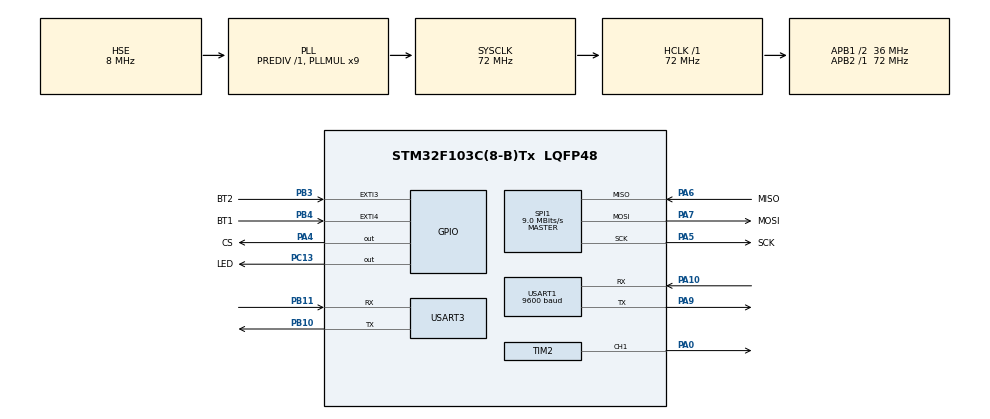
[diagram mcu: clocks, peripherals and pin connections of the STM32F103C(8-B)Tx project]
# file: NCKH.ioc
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Dma.Request0=TIM2_CH1
Dma.TIM2_CH1.0.Direction=DMA_MEMORY_TO_PERIPH
Dma.TIM2_CH1.0.Instance=DMA1_Channel5
Dma.TIM2_CH1.0.MemDataAlignment=DMA_MDATAALIGN_HALFWORD
Dma.TIM2_CH1.0.MemInc=DMA_MINC_ENABLE
Dma.TIM2_CH1.0.Mode=DMA_NORMAL
Dma.TIM2_CH1.0.PeriphDataAlignment=DMA_PDATAALIGN_HALFWORD
Dma.TIM2_CH1.0.PeriphInc=DMA_PINC_DISABLE
Dma.TIM2_CH1.0.Priority=DMA_PRIORITY_LOW
Mcu.Family=STM32F1
Mcu.Name=STM32F103C(8-B)Tx
Mcu.Package=LQFP48
NVIC.DMA1_Channel5_IRQn=true\:0\:0\:false\:false\:true\:false\:true\:true
NVIC.EXTI3_IRQn=true\:0\:0\:false\:false\:true\:true\:true\:true
NVIC.EXTI4_IRQn=true\:0\:0\:false\:false\:true\:true\:true\:true
NVIC.PriorityGroup=NVIC_PRIORITYGROUP_4
NVIC.USART1_IRQn=true\:0\:0\:false\:false\:true\:true\:true\:true
NVIC.USART3_IRQn=true\:0\:0\:false\:false\:true\:true\:true\:true
PA0-WKUP.Signal=S_TIM2_CH1_ETR
PA10.Mode=Asynchronous
PA10.Signal=USART1_RX
PA13.Mode=Serial_Wire
PA13.Signal=SYS_JTMS-SWDIO
PA14.Mode=Serial_Wire
PA14.Signal=SYS_JTCK-SWCLK
PA4.GPIO_Label=CS
PA4.Signal=GPIO_Output
PA5.GPIO_Label=SCK
PA5.Mode=Full_Duplex_Master
PA5.Signal=SPI1_SCK
PA6.GPIO_Label=MISO
PA6.Mode=Full_Duplex_Master
PA6.Signal=SPI1_MISO
PA7.GPIO_Label=MOSI
PA7.Mode=Full_Duplex_Master
PA7.Signal=SPI1_MOSI
PA9.Mode=Asynchronous
PA9.Signal=USART1_TX
PB10.Mode=Asynchronous
PB10.Signal=USART3_TX
PB11.Mode=Asynchronous
PB11.Signal=USART3_RX
PB3.GPIO_Label=BT2
PB3.GPIO_PuPd=GPIO_PULLUP
PB3.Signal=GPXTI3
PB4.GPIO_Label=BT1
PB4.GPIO_PuPd=GPIO_PULLUP
PB4.Signal=GPXTI4
PC13-TAMPER-RTC.GPIO_Label=LED
PC13-TAMPER-RTC.Signal=GPIO_Output
PD0-OSC_IN.Mode=HSE-External-Oscillator
PD0-OSC_IN.Signal=RCC_OSC_IN
PD1-OSC_OUT.Mode=HSE-External-Oscillator
PD1-OSC_OUT.Signal=RCC_OSC_OUT
ProjectManager.HeapSize=0x200
ProjectManager.StackSize=0x400
ProjectManager.TargetToolchain=STM32CubeIDE
RCC.AHBFreq_Value=72000000
RCC.APB1CLKDivider=RCC_HCLK_DIV2
RCC.APB1Freq_Value=36000000
RCC.APB1TimFreq_Value=72000000
RCC.APB2Freq_Value=72000000
RCC.APB2TimFreq_Value=72000000
RCC.HCLKFreq_Value=72000000
RCC.PLLMUL=RCC_PLL_MUL9
RCC.PLLSourceVirtual=RCC_PLLSOURCE_HSE
RCC.SYSCLKFreq_VALUE=72000000
RCC.SYSCLKSource=RCC_SYSCLKSOURCE_PLLCLK
RCC.USBFreq_Value=72000000
SH.S_TIM2_CH1_ETR.0=TIM2_CH1,PWM Generation1 CH1
SPI1.BaudRatePrescaler=SPI_BAUDRATEPRESCALER_8
SPI1.CLKPhase=SPI_PHASE_2EDGE
SPI1.CalculateBaudRate=9.0 MBits/s
SPI1.Direction=SPI_DIRECTION_2LINES
SPI1.Mode=SPI_MODE_MASTER
SPI1.VirtualType=VM_MASTER
TIM2.Channel-PWM\ Generation1\ CH1=TIM_CHANNEL_1
TIM2.Period=90-1
USART1.BaudRate=9600
USART1.VirtualMode=VM_ASYNC
USART3.VirtualMode=VM_ASYNC
board=custom

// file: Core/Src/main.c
/* USER CODE BEGIN Header */
/**
  ******************************************************************************
  * @file           : main.c
  * @brief          : Main program body
  ******************************************************************************
  * @attention
  *
  * Copyright (c) 2025 STMicroelectronics.
  * All rights reserved.
  *
  * This software is licensed under terms that can be found in the LICENSE file
  * in the root directory of this software component.
  * If no LICENSE file comes with this software, it is provided AS-IS.
  *
  ******************************************************************************
  */
/* USER CODE END Header */
#include "main.h"

/* USER CODE BEGIN Includes */
#include "string.h"
#include "math.h"
#include "mc522.h"
#include "stdlib.h"

/* USER CODE END Includes */

/* USER CODE BEGIN PM */
#define MAX_LED 16
#define USE_BRIGHTNESS 1

#define PI 3.14159265

#define SIZE_DATA 5
#define WORD_DISTANCE_BETWEEN 4
#define FLASH_ADDR_BASE 0x08000000
#define FLASH_ADDR_TARGET_PAGE 127
#define FLASH_ADDR_TARGET (FLASH_ADDR_BASE + 1024*FLASH_ADDR_TARGET_PAGE)

/* USER CODE END PM */

SPI_HandleTypeDef hspi1;

TIM_HandleTypeDef htim2;
DMA_HandleTypeDef hdma_tim2_ch1;

UART_HandleTypeDef huart1;
UART_HandleTypeDef huart3;

/* USER CODE BEGIN PV */
uint8_t tx_data[10], volume = 30, package_data[MAX_LED + 2];

uint8_t rx_data[3];
uint16_t pwmData[(24*MAX_LED)+50];

uint8_t LED_Data[MAX_LED][4];
uint8_t LED_Mod[MAX_LED][4];

volatile int datasentflag = 0;
int brightness = 10, flag;
uint8_t led_num = 0;
uint8_t blink_num;
uint8_t save, wait_to_send = 0;
uint8_t r = 255, g = 255, b = 255;

typedef enum DIR_MODE{
	STOP = 0,
	FORWARD,
	BACKWARD,
	LEFT,
	RIGHT
}DIR_MODE;

DIR_MODE dir_data[MAX_LED] = {STOP};

typedef enum COLOR{
	WHITE,
	RED,
	GREEN,
	BLUE,
	PINK,
}COLOR;

uint8_t currentID[5], memoryID[5], data[5];

uint8_t forward_card[5] = {0x43, 0xd8, 0xf8, 0x4, 0x67};
uint8_t left_card[5] = {0xe3, 0x26, 0x8a, 0xc, 0x43};
uint8_t right_card[5] = {0xc4, 0x36, 0x29, 0x3, 0xd8};
uint8_t backward_card[5] = {0x88, 0x4, 0x36, 0x53, 0xe9};
uint8_t delete_card[5] = {0x83, 0x71, 0x7b, 0x14, 0x9d};
uint8_t confirm_card[5] = {0x73, 0x65, 0x28, 0xf5, 0xcb};

uint8_t current_step = 0, last_step = 0, run = 0;
/* USER CODE END PV */

void SystemClock_Config(void);
static void MX_GPIO_Init(void);
static void MX_DMA_Init(void);
static void MX_TIM2_Init(void);
static void MX_USART1_UART_Init(void);
static void MX_SPI1_Init(void);
static void MX_USART3_UART_Init(void);

/* USER CODE BEGIN 0 */
void WS2812_Send (void)
{
	uint32_t indx=0;
	uint32_t color;

	for (int i= 0; i<MAX_LED; i++)
	{
#if USE_BRIGHTNESS
		color = ((LED_Mod[i][1]<<16) | (LED_Mod[i][2]<<8) | (LED_Mod[i][3]));
#else
		color = ((LED_Data[i][1]<<16) | (LED_Data[i][2]<<8) | (LED_Data[i][3]));
#endif

		for (int i=23; i>=0; i--)
		{
			if (color&(1<<i))
			{
				pwmData[indx] = 60;  // 2/3 of 90
			}

			else pwmData[indx] = 30;  // 1/3 of 90

			indx++;
		}

	}

	for (int i=0; i<50; i++)
	{
		pwmData[indx] = 0;
		indx++;
	}

	HAL_TIM_PWM_Start_DMA(&htim2, TIM_CHANNEL_1, (uint32_t *)pwmData, indx);
	while (!datasentflag){};
	datasentflag = 0;
}

void Set_LED (int LEDnum, int Red, int Green, int Blue)
{
	LED_Data[LEDnum][0] = LEDnum;
	LED_Data[LEDnum][1] = Green;
	LED_Data[LEDnum][2] = Red;
	LED_Data[LEDnum][3] = Blue;
}

void Set_Brightness (int brightness)  // 0-45
{
#if USE_BRIGHTNESS

	if (brightness > 45) brightness = 45;
	for (int i=0; i<MAX_LED; i++)
	{
		LED_Mod[i][0] = LED_Data[i][0];
		for (int j=1; j<4; j++)
		{
			float angle = 90-brightness;  // in degrees
			angle = angle*PI / 180;  // in rad
			LED_Mod[i][j] = (LED_Data[i][j])/(tan(angle));
		}
	}

#endif

}

void HAL_TIM_PWM_PulseFinishedCallback(TIM_HandleTypeDef *htim)
{
	HAL_TIM_PWM_Stop_DMA(&htim2, TIM_CHANNEL_1);
	datasentflag = 1;
}

void DFPlayer_sendCMD(uint8_t cmd, uint8_t param1, uint8_t param2)
{
	  tx_data[0] = 0x7E;
	  tx_data[1] = 0xFF;
	  tx_data[2] = 0x06;
	  tx_data[3] = cmd;
	  tx_data[4] = 0x00;
	  tx_data[5] = param1;
	  tx_data[6] = param2;
	  uint16_t check_sum = tx_data[1] + tx_data[2] + tx_data[3] + tx_data[4] + tx_data[5] + tx_data[6];
	  check_sum = 0 - check_sum;
	  tx_data[7] = (check_sum >> 8) & 0x00ff;
	  tx_data[8] = (check_sum) & 0x00ff;
	  tx_data[9] = 0xEF;

	  HAL_UART_Transmit(&huart1, tx_data, 10, HAL_MAX_DELAY);
}

void reset_buffer(uint8_t buffer[])
{
	for(uint8_t i = 0; i < 5; i++)
	{
		buffer[i] = 0;
	}
}

void assign_data()
{
	for(uint8_t i = 0; i < 5; i++)
	{
		memoryID[i] = data[i];
	}
}

void write_flash()
{
	HAL_FLASH_Unlock();

	FLASH_EraseInitTypeDef eraseInitStruct;
	uint32_t pageError;
	eraseInitStruct.TypeErase = FLASH_TYPEERASE_PAGES;
	eraseInitStruct.PageAddress = FLASH_ADDR_TARGET;
	eraseInitStruct.NbPages = 1;
	HAL_FLASHEx_Erase(&eraseInitStruct, &pageError);

	for(uint8_t i = 0; i < SIZE_DATA; i+=WORD_DISTANCE_BETWEEN)
	{
		uint64_t data_write = currentID[i] | (currentID[i + 1] << 8) | (currentID[i + 2] << 16) | (currentID[i + 3] << 24) | (currentID[i + 4] << 32);
		HAL_FLASH_Program(FLASH_TYPEPROGRAM_WORD, FLASH_ADDR_TARGET + i, data_write);
	}
	HAL_FLASH_Lock();
}

void read_flash(void)
{
	for (uint8_t i = 0; i < SIZE_DATA; i++) {
		data[i] = *(uint8_t *)(FLASH_ADDR_TARGET + i);
	}
	assign_data();
}

uint8_t checkID()
{
	for(uint8_t i = 0; i < sizeof(currentID); i++)
	{
		if(currentID[i] != memoryID[i])
		{
			return 0;
			break;
		}
	}
	return 1;
}

uint8_t checkCard(uint8_t currentID[], uint8_t card[])
{
	for(uint8_t i = 0; i < 5; i++)
	{
		if(currentID[i] != card[i])
		{
			return 0;
			break;
		}
	}
	return 1;
}

void prepareToSend(uint8_t package[])
{
	package[0] = 0x0A;
	for(uint8_t i = 0; i < MAX_LED; i++)
	{
		package[1 + i] = dir_data[i];
	}
	package[MAX_LED + 1] = 0x1C;

	HAL_UART_Transmit(&huart3, package, 18, HAL_MAX_DELAY);
}
void HAL_UART_RxCpltCallback(UART_HandleTypeDef *huart)
{
	if(huart->Instance == USART3)
	{
		if(rx_data[0] == 0x0A && rx_data[2] == 0x1C)
		{
			current_step = rx_data[1];
			for(uint8_t i = 0; i < 3; i++) rx_data[i] = 0;
		}
		else
		{
			prepareToSend(package_data);
			for(uint8_t i = 0; i < 3; i++) rx_data[i] = 0;
		}
		HAL_UART_Receive_IT(&huart3, (uint8_t *)rx_data, 3);
	}
}
/* USER CODE END 0 */

int main(void)
{

  /* MCU Configuration--------------------------------------------------------*/

  /* Reset of all peripherals, Initializes the Flash interface and the Systick. */
  HAL_Init();

  /* Configure the system clock */
  SystemClock_Config();

  /* Initialize all configured peripherals */
  MX_GPIO_Init();
  MX_DMA_Init();
  MX_TIM2_Init();
  MX_USART1_UART_Init();
  MX_SPI1_Init();
  MX_USART3_UART_Init();
  /* USER CODE BEGIN 2 */
  MFRC522_init(GPIOA, MOSI_Pin, GPIOA, MISO_Pin, GPIOA, SCK_Pin, GPIOA, CS_Pin);
  DFPlayer_sendCMD(0x3F, 0x00, 0x01);
  HAL_Delay(200);

  DFPlayer_sendCMD(0x06, 0x00, volume);
  HAL_Delay(200);
  DFPlayer_sendCMD(0x08, 0x00, 0x07);
  HAL_Delay(200);
//  HAL_UART_Receive_IT(&huart3, (uint8_t *)rx_data, 3);
  /* USER CODE END 2 */

  /* Infinite loop */
  while (1)
  {

    /* USER CODE BEGIN 3 */
	if(!flag)
	{
		Set_LED(led_num, r, g, b);
		Set_Brightness(brightness);
		WS2812_Send();
		HAL_Delay(250);
		Set_LED(led_num, 0, 0, 0);
		Set_Brightness(brightness);
		WS2812_Send();
		HAL_Delay(250);
		if(checkCard(currentID, forward_card))
		{
			r = 255;
			g = 0;
			b = 0;
			Set_LED(led_num, r, g, b);
			WS2812_Send();
			HAL_Delay(100);
			dir_data[led_num] = FORWARD;
			DFPlayer_sendCMD(0x03, 0x00, 0x01);
			HAL_Delay(900);
			reset_buffer(currentID);
			wait_to_send = 1;
		}
		if(checkCard(currentID, left_card))
		{
			r = 0;
			g = 255;
			b = 0;
			Set_LED(led_num, r, g, b);
			WS2812_Send();
			HAL_Delay(100);
			dir_data[led_num] = LEFT;
			DFPlayer_sendCMD(0x03, 0x00, 0x02);
			HAL_Delay(900);

			reset_buffer(currentID);
			wait_to_send = 1;
		}
		if(checkCard(currentID, right_card))
		{
			r = 0;
			g = 0;
			b = 255;
			Set_LED(led_num, r, g, b);
			WS2812_Send();
			HAL_Delay(100);
			dir_data[led_num] = RIGHT;
			DFPlayer_sendCMD(0x03, 0x00, 0x03);
			HAL_Delay(900);

			reset_buffer(currentID);
			wait_to_send = 1;
		}
		if(checkCard(currentID, backward_card))
		{
			r = 255;
			g = 0;
			b = 180;
			Set_LED(led_num, r, g, b);
			WS2812_Send();
			HAL_Delay(100);
			dir_data[led_num] = BACKWARD;
			DFPlayer_sendCMD(0x03, 0x00, 0x04);
			HAL_Delay(900);
			reset_buffer(currentID);
			wait_to_send = 1;
		}
		if(checkCard(currentID, delete_card))
		{
			r = 0;
			g = 0;
			b = 0;
			Set_LED(led_num, r, g, b);
			WS2812_Send();
			HAL_Delay(100);
			dir_data[led_num] = STOP;
			DFPlayer_sendCMD(0x03, 0x00, 0x06);
			HAL_Delay(900);
			if(led_num > 0) --led_num;
			r = 255;
			g = 255;
			b = 255;
			DFPlayer_sendCMD(0x08, 0x00, 0x07);
			reset_buffer(currentID);
		}
		if(led_num == MAX_LED)
		{
			WS2812_Send();
			HAL_Delay(500);
			DFPlayer_sendCMD(0x03, 0x00, 0x08);
			HAL_Delay(5000);
			DFPlayer_sendCMD(0x08, 0x00, 0x0B);
			flag = 1;
		}
		else
		{
			r = 255;
			g = 255;
			b = 255;
		}
	}
	else
	{
		HAL_UART_Receive_IT(&huart3, (uint8_t *)rx_data, 3);
		if(checkCard(currentID, confirm_card))
		{
			DFPlayer_sendCMD(0x03, 0x00, 0x09);
			HAL_Delay(1000);
			prepareToSend(package_data);
			HAL_Delay(100);
			Set_Brightness(0);
			WS2812_Send();
			HAL_Delay(200);
			Set_Brightness(brightness);
			WS2812_Send();
			HAL_Delay(200);
			Set_Brightness(0);
			WS2812_Send();
			HAL_Delay(200);
			Set_Brightness(brightness);
			WS2812_Send();
			HAL_Delay(200);
			Set_Brightness(0);
			WS2812_Send();
			HAL_Delay(200);
			Set_Brightness(brightness);
			WS2812_Send();
			HAL_Delay(200);
			reset_buffer(currentID);
			DFPlayer_sendCMD(0x08, 0x00, 0x0A);
			run = 1;

		}
		if(dir_data[last_step] == FORWARD)
		{
			r = 255;
			g = 0;
			b = 0;
		}
		if(dir_data[last_step] == BACKWARD)
		{
			r = 255;
			g = 0;
			b = 180;
		}
		if(dir_data[last_step] == LEFT)
		{
			r = 0;
			g = 255;
			b = 0;
		}
		if(dir_data[last_step] == RIGHT)
		{
			r = 0;
			g = 0;
			b = 255;
		}
		if(run)
		{
			if(current_step > last_step)
			{
				Set_LED(last_step, r, g, b);
				Set_Brightness(brightness);
				WS2812_Send();
				last_step = current_step;
			}
			if(current_step == MAX_LED)
			{
				DFPlayer_sendCMD(0x03, 0x00, 0x09);
				HAL_Delay(1000);
				Set_Brightness(0);
				WS2812_Send();
				HAL_Delay(200);
				Set_Brightness(brightness);
				WS2812_Send();
				HAL_Delay(200);
				Set_Brightness(0);
				WS2812_Send();
				HAL_Delay(200);
				Set_Brightness(brightness);
				WS2812_Send();
				HAL_Delay(200);
				Set_Brightness(0);
				WS2812_Send();
				HAL_Delay(200);
				Set_Brightness(brightness);
				WS2812_Send();
				HAL_Delay(200);
				for(uint8_t i = 0; i < MAX_LED; i++)
				{
					Set_LED(i, 0, 0, 0);
					WS2812_Send();
				}
				reset_buffer(currentID);
				flag = 0;
				led_num = 0;
				current_step = 0;
				run = 0;
				last_step = current_step;
				DFPlayer_sendCMD(0x08, 0x00, 0x07);
			}
			Set_LED(last_step, r, g, b);
			Set_Brightness(brightness);
			WS2812_Send();
			HAL_Delay(250);
			Set_LED(current_step, 255, 255, 255);
			Set_Brightness(brightness);
			WS2812_Send();
			HAL_Delay(250);
		}
	}
	if(isCard())
	{
		readCardSerial(currentID);
		MFRC522_Halt();
	}
	if(wait_to_send)
	{
	    DFPlayer_sendCMD(0x03, 0x00, 0x05);
		HAL_Delay(700);
	    DFPlayer_sendCMD(0x03, 0x00, 0x07);
		wait_to_send = 0;
		++led_num;
	}
  }
  /* USER CODE END 3 */
}

void SystemClock_Config(void)
{
  RCC_OscInitTypeDef RCC_OscInitStruct = {0};
  RCC_ClkInitTypeDef RCC_ClkInitStruct = {0};

  /** Initializes the RCC Oscillators according to the specified parameters
  * in the RCC_OscInitTypeDef structure.
  */
  RCC_OscInitStruct.OscillatorType = RCC_OSCILLATORTYPE_HSE;
  RCC_OscInitStruct.HSEState = RCC_HSE_ON;
  RCC_OscInitStruct.HSEPredivValue = RCC_HSE_PREDIV_DIV1;
  RCC_OscInitStruct.HSIState = RCC_HSI_ON;
  RCC_OscInitStruct.PLL.PLLState = RCC_PLL_ON;
  RCC_OscInitStruct.PLL.PLLSource = RCC_PLLSOURCE_HSE;
  RCC_OscInitStruct.PLL.PLLMUL = RCC_PLL_MUL9;
  if (HAL_RCC_OscConfig(&RCC_OscInitStruct) != HAL_OK)
  {
    Error_Handler();
  }

  /** Initializes the CPU, AHB and APB buses clocks
  */
  RCC_ClkInitStruct.ClockType = RCC_CLOCKTYPE_HCLK|RCC_CLOCKTYPE_SYSCLK
                              |RCC_CLOCKTYPE_PCLK1|RCC_CLOCKTYPE_PCLK2;
  RCC_ClkInitStruct.SYSCLKSource = RCC_SYSCLKSOURCE_PLLCLK;
  RCC_ClkInitStruct.AHBCLKDivider = RCC_SYSCLK_DIV1;
  RCC_ClkInitStruct.APB1CLKDivider = RCC_HCLK_DIV2;
  RCC_ClkInitStruct.APB2CLKDivider = RCC_HCLK_DIV1;

  if (HAL_RCC_ClockConfig(&RCC_ClkInitStruct, FLASH_LATENCY_2) != HAL_OK)
  {
    Error_Handler();
  }
}

static void MX_SPI1_Init(void)
{

  /* SPI1 parameter configuration*/
  hspi1.Instance = SPI1;
  hspi1.Init.Mode = SPI_MODE_MASTER;
  hspi1.Init.Direction = SPI_DIRECTION_2LINES;
  hspi1.Init.DataSize = SPI_DATASIZE_8BIT;
  hspi1.Init.CLKPolarity = SPI_POLARITY_LOW;
  hspi1.Init.CLKPhase = SPI_PHASE_2EDGE;
  hspi1.Init.NSS = SPI_NSS_SOFT;
  hspi1.Init.BaudRatePrescaler = SPI_BAUDRATEPRESCALER_8;
  hspi1.Init.FirstBit = SPI_FIRSTBIT_MSB;
  hspi1.Init.TIMode = SPI_TIMODE_DISABLE;
  hspi1.Init.CRCCalculation = SPI_CRCCALCULATION_DISABLE;
  hspi1.Init.CRCPolynomial = 10;
  if (HAL_SPI_Init(&hspi1) != HAL_OK)
  {
    Error_Handler();
  }

}

static void MX_TIM2_Init(void)
{

  TIM_MasterConfigTypeDef sMasterConfig = {0};
  TIM_OC_InitTypeDef sConfigOC = {0};

  htim2.Instance = TIM2;
  htim2.Init.Prescaler = 0;
  htim2.Init.CounterMode = TIM_COUNTERMODE_UP;
  htim2.Init.Period = 90-1;
  htim2.Init.ClockDivision = TIM_CLOCKDIVISION_DIV1;
  htim2.Init.AutoReloadPreload = TIM_AUTORELOAD_PRELOAD_DISABLE;
  if (HAL_TIM_PWM_Init(&htim2) != HAL_OK)
  {
    Error_Handler();
  }
  sMasterConfig.MasterOutputTrigger = TIM_TRGO_RESET;
  sMasterConfig.MasterSlaveMode = TIM_MASTERSLAVEMODE_DISABLE;
  if (HAL_TIMEx_MasterConfigSynchronization(&htim2, &sMasterConfig) != HAL_OK)
  {
    Error_Handler();
  }
  sConfigOC.OCMode = TIM_OCMODE_PWM1;
  sConfigOC.Pulse = 0;
  sConfigOC.OCPolarity = TIM_OCPOLARITY_HIGH;
  sConfigOC.OCFastMode = TIM_OCFAST_DISABLE;
  if (HAL_TIM_PWM_ConfigChannel(&htim2, &sConfigOC, TIM_CHANNEL_1) != HAL_OK)
  {
    Error_Handler();
  }
  HAL_TIM_MspPostInit(&htim2);

}

static void MX_USART1_UART_Init(void)
{

  huart1.Instance = USART1;
  huart1.Init.BaudRate = 9600;
  huart1.Init.WordLength = UART_WORDLENGTH_8B;
  huart1.Init.StopBits = UART_STOPBITS_1;
  huart1.Init.Parity = UART_PARITY_NONE;
  huart1.Init.Mode = UART_MODE_TX_RX;
  huart1.Init.HwFlowCtl = UART_HWCONTROL_NONE;
  huart1.Init.OverSampling = UART_OVERSAMPLING_16;
  if (HAL_UART_Init(&huart1) != HAL_OK)
  {
    Error_Handler();
  }

}

static void MX_USART3_UART_Init(void)
{

  huart3.Instance = USART3;
  huart3.Init.BaudRate = 115200;
  huart3.Init.WordLength = UART_WORDLENGTH_8B;
  huart3.Init.StopBits = UART_STOPBITS_1;
  huart3.Init.Parity = UART_PARITY_NONE;
  huart3.Init.Mode = UART_MODE_TX_RX;
  huart3.Init.HwFlowCtl = UART_HWCONTROL_NONE;
  huart3.Init.OverSampling = UART_OVERSAMPLING_16;
  if (HAL_UART_Init(&huart3) != HAL_OK)
  {
    Error_Handler();
  }

}

static void MX_DMA_Init(void)
{

  /* DMA controller clock enable */
  __HAL_RCC_DMA1_CLK_ENABLE();

  /* DMA interrupt init */
  /* DMA1_Channel5_IRQn interrupt configuration */
  HAL_NVIC_SetPriority(DMA1_Channel5_IRQn, 0, 0);
  HAL_NVIC_EnableIRQ(DMA1_Channel5_IRQn);

}

static void MX_GPIO_Init(void)
{
  GPIO_InitTypeDef GPIO_InitStruct = {0};

  /* GPIO Ports Clock Enable */
  __HAL_RCC_GPIOC_CLK_ENABLE();
  __HAL_RCC_GPIOD_CLK_ENABLE();
  __HAL_RCC_GPIOA_CLK_ENABLE();
  __HAL_RCC_GPIOB_CLK_ENABLE();

  /*Configure GPIO pin Output Level */
  HAL_GPIO_WritePin(LED_GPIO_Port, LED_Pin, GPIO_PIN_RESET);

  /*Configure GPIO pin Output Level */
  HAL_GPIO_WritePin(CS_GPIO_Port, CS_Pin, GPIO_PIN_RESET);

  /*Configure GPIO pin : LED_Pin */
  GPIO_InitStruct.Pin = LED_Pin;
  GPIO_InitStruct.Mode = GPIO_MODE_OUTPUT_PP;
  GPIO_InitStruct.Pull = GPIO_NOPULL;
  GPIO_InitStruct.Speed = GPIO_SPEED_FREQ_LOW;
  HAL_GPIO_Init(LED_GPIO_Port, &GPIO_InitStruct);

  /*Configure GPIO pin : CS_Pin */
  GPIO_InitStruct.Pin = CS_Pin;
  GPIO_InitStruct.Mode = GPIO_MODE_OUTPUT_PP;
  GPIO_InitStruct.Pull = GPIO_NOPULL;
  GPIO_InitStruct.Speed = GPIO_SPEED_FREQ_LOW;
  HAL_GPIO_Init(CS_GPIO_Port, &GPIO_InitStruct);

  /*Configure GPIO pins : BT2_Pin BT1_Pin */
  GPIO_InitStruct.Pin = BT2_Pin|BT1_Pin;
  GPIO_InitStruct.Mode = GPIO_MODE_IT_RISING;
  GPIO_InitStruct.Pull = GPIO_PULLUP;
  HAL_GPIO_Init(GPIOB, &GPIO_InitStruct);

  /* EXTI interrupt init*/
  HAL_NVIC_SetPriority(EXTI3_IRQn, 0, 0);
  HAL_NVIC_EnableIRQ(EXTI3_IRQn);

  HAL_NVIC_SetPriority(EXTI4_IRQn, 0, 0);
  HAL_NVIC_EnableIRQ(EXTI4_IRQn);

}

void Error_Handler(void)
{
  __disable_irq();
  while (1)
  {
  }
}
